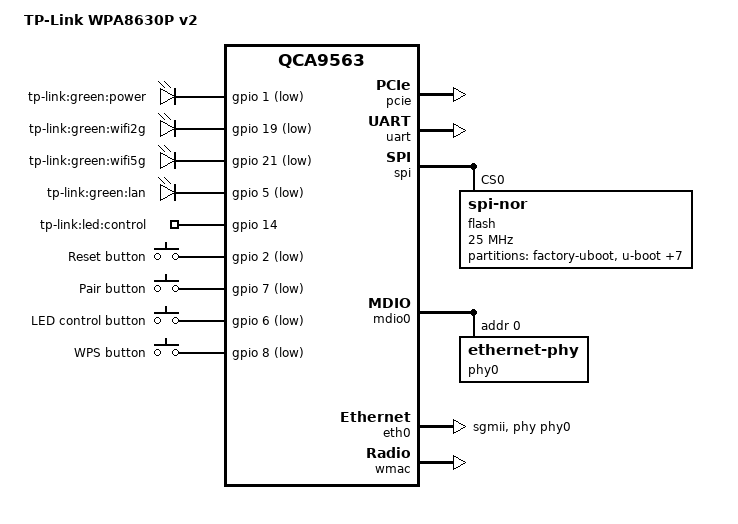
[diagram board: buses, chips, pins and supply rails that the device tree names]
// SPDX-License-Identifier: GPL-2.0-or-later OR MIT
/dts-v1/;

#include <dt-bindings/gpio/gpio.h>
#include <dt-bindings/input/input.h>

#include "qca956x.dtsi"

/ {
	compatible = "tplink,tl-wpa8630p-v2", "qca,qca9563";
	model = "TP-Link WPA8630P v2";

	chosen {
		bootargs = "console=ttyS0,115200n8";
	};

	aliases {
		led-boot = &led_power;
		led-failsafe = &led_power;
		led-running = &led_power;
		led-upgrade = &led_power;
	};

	leds {
		compatible = "gpio-leds";

		led_power: power {
			label = "tp-link:green:power";
			gpios = <&gpio 1 GPIO_ACTIVE_LOW>;
		};

		wifi2g {
			label = "tp-link:green:wifi2g";
			gpios = <&gpio 19 GPIO_ACTIVE_LOW>;
			linux,default-trigger = "phy1tpt";
		};

		wifi5g {
			label = "tp-link:green:wifi5g";
			gpios = <&gpio 21 GPIO_ACTIVE_LOW>;
			linux,default-trigger = "phy0tpt";
		};

		lan {
			label = "tp-link:green:lan";
			gpios = <&gpio 5 GPIO_ACTIVE_LOW>;
		};
	};

	gpio-export {
		compatible = "gpio-export";

		gpio_led_control {
			gpio-export,name = "tp-link:led:control";
			gpios = <&gpio 14 GPIO_ACTIVE_HIGH>;
		};
	};

	keys {
		compatible = "gpio-keys";

		reset {
			label = "Reset button";
			linux,code = <KEY_RESTART>;
			gpios = <&gpio 2 GPIO_ACTIVE_LOW>;
			debounce-interval = <60>;
		};

		pair {
			label = "Pair button";
			linux,code = <BTN_1>;
			gpios = <&gpio 7 GPIO_ACTIVE_LOW>;
			debounce-interval = <60>;
		};

		leds {
			label = "LED control button";
			linux,code = <BTN_0>;
			gpios = <&gpio 6 GPIO_ACTIVE_LOW>;
			debounce-interval = <60>;
		};

		wps {
			label = "WPS button";
			linux,code = <KEY_WPS_BUTTON>;
			gpios = <&gpio 8 GPIO_ACTIVE_LOW>;
			debounce-interval = <60>;
		};
	};
};

&pcie {
	status = "okay";
};

&uart {
	status = "okay";
};

&gpio {
	status = "okay";
};

&spi {
	status = "okay";

	num-cs = <1>;

	flash@0 {
		compatible = "jedec,spi-nor";
		reg = <0>;
		spi-max-frequency = <25000000>;

		partitions {
			compatible = "fixed-partitions";
			#address-cells = <1>;
			#size-cells = <1>;

			partition@0 {
				label = "factory-uboot";
				reg = <0x000000 0x020000>;
				read-only;
			};

			partition@20000 {
				label = "u-boot";
				reg = <0x020000 0x020000>;
				read-only;
			};

			partition@40000 {
				compatible = "tplink,firmware";
				label = "firmware";
				reg = <0x040000 0x5e0000>;
			};

			partition@620000 {
				label = "partition-table";
				reg = <0x620000 0x010000>;
				read-only;
			};

			info: partition@630000 {
				label = "info";
				reg = <0x630000 0x020000>;
				read-only;
			};

			partition@650000 {
				label = "config";
				reg = <0x650000 0x020000>;
				read-only;
			};

			partition@670000 {
				label = "defaults";
				reg = <0x670000 0x100000>
				read-only;
			}

			// 0x770000, 0x80000 not allocated in stock firmware
			partition@770000 {
				label = "unallocated";
				reg = <0x770000 0x800000>
				read-only;
			}

			art: partition@7f0000 {
				label = "art";
				reg = <0x7f0000 0x010000>;
				read-only;
			};
		};
	};
};

&mdio0 {
	status = "okay";

	phy-mask = <0>;
	phy0: ethernet-phy@0 {
		reg = <0>;
		phy-mode = "sgmii";
		qca,mib-poll-interval = <500>;

		qca,ar8327-initvals = <
			0x04 0x00080080 /* PORT0 PAD MODE CTRL */
			0x7c 0x0000007e /* PORT0_STATUS */
		>;
	};
};

&eth0 {
	status = "okay";

	phy-handle = <&phy0>;
    phy-mode = "sgmii";
	mtd-mac-address = <&info 0x8>;
};

&wmac {
	status = "okay";

	mtd-cal-data = <&art 0x1000>;
	mtd-mac-address = <&info 0x8>;
};
